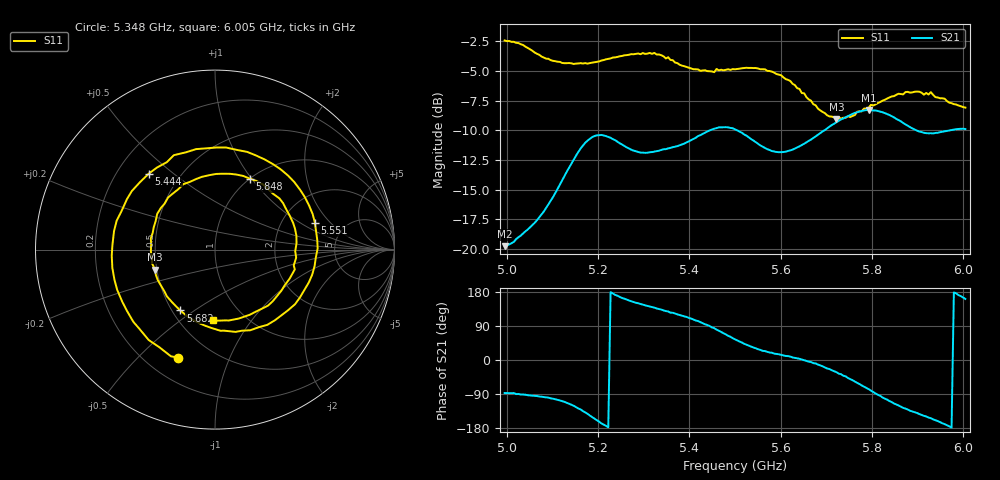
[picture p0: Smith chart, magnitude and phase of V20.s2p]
!File created by NanoVNA
# Hz S RI R 50
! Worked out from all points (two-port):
!   201 points, 4.995 GHz to 6.005 GHz, reference 50 ohm
!   highest |S21| = -8.28 dB at 5.793 GHz (marker M1); lowest = -19.8 dB at 4.995 GHz (marker M2)
!   |S21| within 3 dB of the highest: 5.377 GHz to 5.556 GHz (178.8 MHz wide, 3.27 % of centre); 5.645 GHz to end of sweep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
!   lowest |S11| = -9.1 dB at 5.722 GHz (marker M3), VSWR 2.09, Z = 24.4 - j6.25 ohm
!   |S11| at or under -10 dB: nowhere
!   S12 and S22 are empty: the file has one direction only
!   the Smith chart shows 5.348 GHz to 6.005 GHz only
!   S11 on the Smith chart (normalised r, x): 5.348 GHz: 0.33, -0.66; 5.444 GHz: 0.33, +0.41; 5.551 GHz: 3.05, +1.37; 5.682 GHz: 0.55, -0.44; 5.848 GHz: 1.00, +0.98; 6.005 GHz: 0.72, -0.67
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4.995e9  0.2153 -0.7255  0.00514 -0.1025  0 0  0 0
5.03035e9  -0.3104 -0.6604  -0.00208 -0.1137  0 0  0 0
5.0758e9  -0.643 -0.0775  -0.0168 -0.1386  0 0  0 0
5.1263e9  -0.3473 0.4978  -0.0707 -0.19  0 0  0 0
5.1667e9  0.1189 0.593  -0.1924 -0.1934  0 0  0 0
5.2172e9  0.5572 0.2942  -0.2972 -0.0322  0 0  0 0
5.2576e9  0.6447 -0.1167  -0.2578 0.0847  0 0  0 0
5.33335e9  0.0139 -0.6604  -0.1824 0.1844  0 0  0 0
5.3485e9  -0.2037 -0.6018  -0.1657 0.2048  0 0  0 0
5.399e9  -0.572 -0.1016  -0.1021 0.2652  0 0  0 0
5.44445e9  -0.3682 0.4237  0.00172 0.3157  0 0  0 0
5.5e9  0.225 0.5259  0.1851 0.2599  0 0  0 0
5.5505e9  0.5567 0.1498  0.2442 0.1316  0 0  0 0
5.6212e9  0.2916 -0.4192  0.2569 0.041  0 0  0 0
5.6717e9  -0.1388 -0.383  0.2907 -0.0424  0 0  0 0
5.6818e9  -0.1933 -0.3392  0.2961 -0.0636  0 0  0 0
5.7222e9  -0.334 -0.1121  0.2898 -0.181  0 0  0 0
5.7929e9  -0.2027 0.3379  0.0869 -0.3754  0 0  0 0
5.83835e9  0.117 0.4186  -0.1151 -0.3485  0 0  0 0
5.84845e9  0.1959 0.3947  -0.1499 -0.3257  0 0  0 0
5.92925e9  0.4448 -0.1102  -0.275 -0.1374  0 0  0 0
6.005e9  -0.0105 -0.3942  -0.3028 0.1039  0 0  0 0
